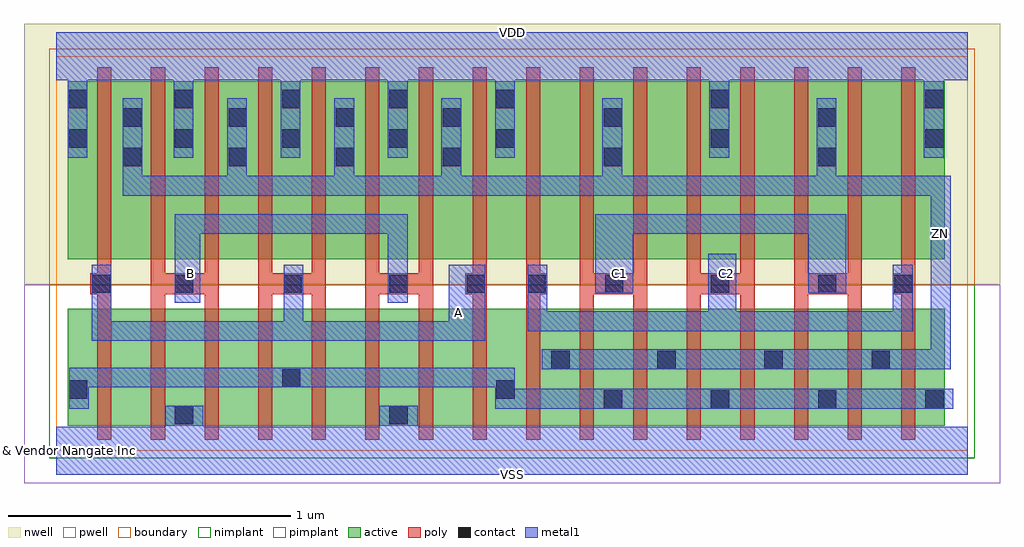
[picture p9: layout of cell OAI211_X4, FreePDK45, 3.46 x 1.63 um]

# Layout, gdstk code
import gdstk
lib = gdstk.Library(unit=1e-6, precision=1e-10)
def R(c, l, rs):  # rectangles x0, y0, x1, y1
    for r in rs: c.add(gdstk.rectangle(r[:2], r[2:], *l))
def A(c, l, x, y, w, h, nx, ny, dx, dy):  # array of equal rectangles
    R(c, l, [(x+i*dx, y+j*dy, x+i*dx+w, y+j*dy+h) for i in range(nx) for j in range(ny)])
def P(c, l, *ps):  # polygons
    for p in ps: c.add(gdstk.Polygon(p, *l))
active = (1, 0)
pwell = (2, 0)
nwell = (3, 0)
nimplant = (4, 0)
pimplant = (5, 0)
poly = (9, 0)
contact = (10, 0)
metal1 = (11, 0)
boundary = (235, 0)

oai211_x4 = lib.new_cell('OAI211_X4')
R(oai211_x4, active, [(0.04,0.09,3.15,0.505), (0.04,0.68,3.15,1.31)])
R(oai211_x4, pwell, [(-0.115,-0.115,3.345,0.59)])
R(oai211_x4, nwell, [(-0.115,0.59,3.345,1.515)])
R(oai211_x4, nimplant, [(-0.025,-0.025,3.255,0.59)])
R(oai211_x4, pimplant, [(-0.025,0.59,3.255,1.425)])
P(oai211_x4, poly, [(0.145,0.04),(0.145,0.555),(0.12,0.555),(0.12,0.63),(0.145,0.63),(0.145,1.36),(0.195,1.36),(0.195,0.04)],
  [(0.335,0.04),(0.335,1.36),(0.385,1.36),(0.385,0.63),(0.525,0.63),(0.525,1.36),(0.575,1.36),(0.575,0.04),(0.525,0.04),(0.525,0.555),(0.385,0.555),(0.385,0.04)],
  [(0.715,0.04),(0.715,1.36),(0.765,1.36),(0.765,0.63),(0.905,0.63),(0.905,1.36),(0.955,1.36),(0.955,0.04),(0.905,0.04),(0.905,0.555),(0.765,0.555),(0.765,0.04)],
  [(1.095,0.04),(1.095,1.36),(1.145,1.36),(1.145,0.63),(1.285,0.63),(1.285,1.36),(1.335,1.36),(1.335,0.04),(1.285,0.04),(1.285,0.555),(1.145,0.555),(1.145,0.04)],
  [(1.475,0.04),(1.475,0.555),(1.45,0.555),(1.45,0.63),(1.475,0.63),(1.475,1.36),(1.525,1.36),(1.525,0.04)],
  [(1.665,0.04),(1.665,1.36),(1.715,1.36),(1.715,0.63),(1.74,0.63),(1.74,0.555),(1.715,0.555),(1.715,0.04)],
  [(1.855,0.04),(1.855,1.36),(1.905,1.36),(1.905,0.63),(2.045,0.63),(2.045,1.36),(2.095,1.36),(2.095,0.04),(2.045,0.04),(2.045,0.555),(1.905,0.555),(1.905,0.04)],
  [(2.235,0.04),(2.235,1.36),(2.285,1.36),(2.285,0.63),(2.425,0.63),(2.425,1.36),(2.475,1.36),(2.475,0.04),(2.425,0.04),(2.425,0.555),(2.285,0.555),(2.285,0.04)],
  [(2.615,0.04),(2.615,1.36),(2.665,1.36),(2.665,0.63),(2.805,0.63),(2.805,1.36),(2.855,1.36),(2.855,0.04),(2.805,0.04),(2.805,0.555),(2.665,0.555),(2.665,0.04)],
  [(2.995,0.04),(2.995,0.555),(2.965,0.555),(2.965,0.63),(2.995,0.63),(2.995,1.36),(3.045,1.36),(3.045,0.04)])
A(oai211_x4, contact, 1.94, 0.15, 0.065, 0.065, 4, 1, 0.38, 0)
A(oai211_x4, contact, 2.13, 0.29, 0.065, 0.065, 3, 1, 0.38, 0)
A(oai211_x4, contact, 0.61, 1.01, 0.065, 0.065, 3, 2, 0.38, 0.14)
A(oai211_x4, contact, 0.42, 1.075, 0.065, 0.065, 4, 2, 0.38, 0.14)
R(oai211_x4, contact, [(0.42,0.095,0.485,0.16), (1.18,0.095,1.245,0.16), (0.045,0.185,0.11,0.25), (1.56,0.185,1.625,0.25), (0.8,0.225,0.865,0.29), (1.755,0.29,1.82,0.355), (0.125,0.56,0.19,0.625), (0.42,0.56,0.485,0.625), (0.805,0.56,0.87,0.625), (1.18,0.56,1.245,0.625), (1.455,0.56,1.52,0.625), (1.67,0.56,1.735,0.625), (1.945,0.56,2.01,0.625), (2.32,0.56,2.385,0.625), (2.7,0.56,2.765,0.625), (2.97,0.56,3.035,0.625), (0.235,1.01,0.3,1.075), (1.94,1.01,2.005,1.075), (2.7,1.01,2.765,1.075), (0.045,1.075,0.11,1.14), (2.32,1.075,2.385,1.14), (3.08,1.075,3.145,1.14), (0.235,1.15,0.3,1.215), (1.94,1.15,2.005,1.215), (2.7,1.15,2.765,1.215), (0.045,1.215,0.11,1.28), (2.32,1.215,2.385,1.28), (3.08,1.215,3.145,1.28)])
P(oai211_x4, metal1, [(0.42,0.525),(0.42,0.84),(1.245,0.84),(1.245,0.525),(1.175,0.525),(1.175,0.77),(0.51,0.77),(0.51,0.525)],
  [(0.125,0.39),(0.125,0.66),(0.195,0.66),(0.195,0.46),(0.805,0.46),(0.805,0.66),(0.875,0.66),(0.875,0.46),(1.39,0.46),(1.39,0.66),(1.52,0.66),(1.52,0.39)],
  [(1.91,0.56),(1.91,0.84),(2.8,0.84),(2.8,0.56),(2.665,0.56),(2.665,0.77),(2.045,0.77),(2.045,0.56)],
  [(1.67,0.425),(1.67,0.66),(1.74,0.66),(1.74,0.495),(2.31,0.495),(2.31,0.7),(2.41,0.7),(2.41,0.495),(2.965,0.495),(2.965,0.66),(3.035,0.66),(3.035,0.425)],
  [(1.72,0.29),(1.72,0.36),(3.1,0.36),(3.1,0.905),(0.235,0.905),(0.235,1.25),(0.305,1.25),(0.305,0.975),(0.605,0.975),(0.605,1.25),(0.675,1.25),(0.675,0.975),(0.985,0.975),(0.985,1.25),(1.055,1.25),(1.055,0.975),(1.365,0.975),(1.365,1.25),(1.435,1.25),(1.435,0.975),(1.935,0.975),(1.935,1.25),(2.005,1.25),(2.005,0.975),(2.695,0.975),(2.695,1.25),(2.765,1.25),(2.765,0.975),(3.17,0.975),(3.17,0.29)],
  [(0.045,0.15),(0.045,0.295),(1.625,0.295),(1.625,0.22),(3.18,0.22),(3.18,0.15),(1.555,0.15),(1.555,0.225),(0.115,0.225),(0.115,0.15)],
  [(0,-0.085),(0,0.085),(0.385,0.085),(0.385,0.16),(0.52,0.16),(0.52,0.085),(1.145,0.085),(1.145,0.16),(1.28,0.16),(1.28,0.085),(3.23,0.085),(3.23,-0.085)],
  [(0.04,1.04),(0.04,1.315),(0,1.315),(0,1.485),(3.23,1.485),(3.23,1.315),(3.145,1.315),(3.145,1.04),(3.075,1.04),(3.075,1.315),(2.385,1.315),(2.385,1.04),(2.315,1.04),(2.315,1.315),(1.625,1.315),(1.625,1.04),(1.555,1.04),(1.555,1.315),(1.245,1.315),(1.245,1.04),(1.175,1.04),(1.175,1.315),(0.865,1.315),(0.865,1.04),(0.795,1.04),(0.795,1.315),(0.485,1.315),(0.485,1.04),(0.415,1.04),(0.415,1.315),(0.11,1.315),(0.11,1.04)])
R(oai211_x4, boundary, [(0,0,3.23,1.4)])
oai211_x4.add(gdstk.Label('A', (1.425,0.49), layer=11, texttype=0))
oai211_x4.add(gdstk.Label('B', (0.475,0.63), layer=11, texttype=0))
oai211_x4.add(gdstk.Label('C1', (1.995,0.63), layer=11, texttype=0))
oai211_x4.add(gdstk.Label('C2', (2.375,0.63), layer=11, texttype=0))
oai211_x4.add(gdstk.Label('VDD', (1.615,1.485), layer=11, texttype=0))
oai211_x4.add(gdstk.Label('VSS', (1.615,-0.085), layer=11, texttype=0))
oai211_x4.add(gdstk.Label('ZN', (3.135,0.77), layer=11, texttype=0))
oai211_x4.add(gdstk.Label('& Vendor Nangate Inc', (0,0), layer=63, texttype=63))
oai211_x4.add(gdstk.Label('& Product Open Cell Library', (0,0), layer=63, texttype=63))
oai211_x4.add(gdstk.Label('& Version 2010_12', (0,0), layer=63, texttype=63))
oai211_x4.add(gdstk.Label('& Instance OAI211_X4', (0,0), layer=63, texttype=63))

lib.write_gds('OAI211_X4.gds')
